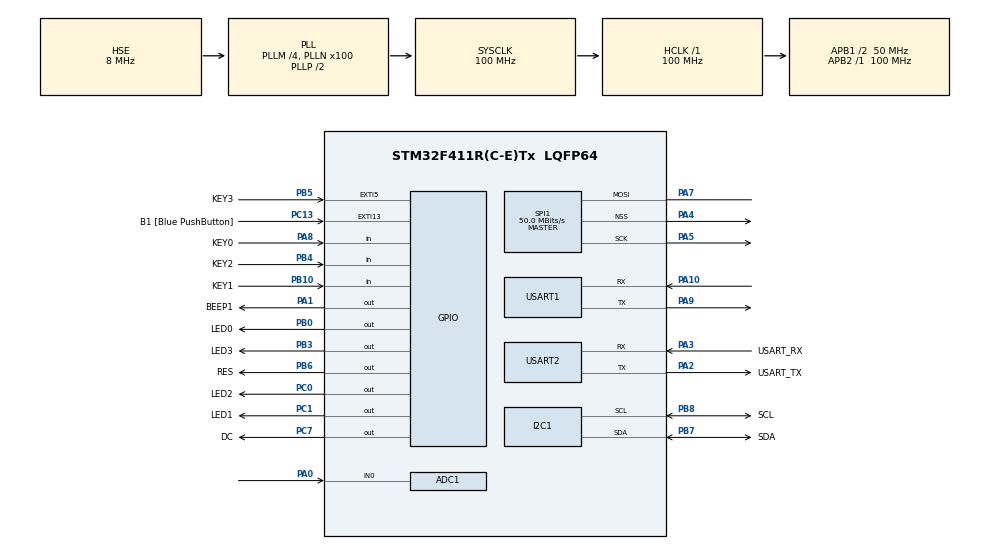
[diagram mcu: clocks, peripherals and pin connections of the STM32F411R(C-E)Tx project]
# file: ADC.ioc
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ADC1.Channel-0\#ChannelRegularConversion=ADC_CHANNEL_0
ADC1.ContinuousConvMode=ENABLE
ADC1.DMAContinuousRequests=ENABLE
ADC1.NbrOfConversion=1
ADC1.NbrOfConversionFlag=1
ADC1.Rank-0\#ChannelRegularConversion=1
ADC1.SamplingTime-0\#ChannelRegularConversion=ADC_SAMPLETIME_3CYCLES
ADC1.ScanConvMode=ENABLE
ADC1.master=1
Dma.ADC1.0.Direction=DMA_PERIPH_TO_MEMORY
Dma.ADC1.0.FIFOMode=DMA_FIFOMODE_DISABLE
Dma.ADC1.0.Instance=DMA2_Stream0
Dma.ADC1.0.MemDataAlignment=DMA_MDATAALIGN_WORD
Dma.ADC1.0.MemInc=DMA_MINC_ENABLE
Dma.ADC1.0.Mode=DMA_CIRCULAR
Dma.ADC1.0.PeriphDataAlignment=DMA_PDATAALIGN_WORD
Dma.ADC1.0.PeriphInc=DMA_PINC_DISABLE
Dma.ADC1.0.Priority=DMA_PRIORITY_LOW
Dma.Request0=ADC1
Dma.Request1=SPI1_TX
Dma.SPI1_TX.1.Direction=DMA_MEMORY_TO_PERIPH
Dma.SPI1_TX.1.FIFOMode=DMA_FIFOMODE_DISABLE
Dma.SPI1_TX.1.Instance=DMA2_Stream2
Dma.SPI1_TX.1.MemDataAlignment=DMA_MDATAALIGN_BYTE
Dma.SPI1_TX.1.MemInc=DMA_MINC_ENABLE
Dma.SPI1_TX.1.Mode=DMA_NORMAL
Dma.SPI1_TX.1.PeriphDataAlignment=DMA_PDATAALIGN_BYTE
Dma.SPI1_TX.1.PeriphInc=DMA_PINC_DISABLE
Dma.SPI1_TX.1.Priority=DMA_PRIORITY_VERY_HIGH
Mcu.Family=STM32F4
Mcu.Name=STM32F411R(C-E)Tx
Mcu.Package=LQFP64
NVIC.DMA2_Stream0_IRQn=true\:0\:0\:false\:false\:true\:false\:true\:true
NVIC.DMA2_Stream2_IRQn=true\:0\:0\:false\:false\:true\:false\:true\:true
NVIC.PriorityGroup=NVIC_PRIORITYGROUP_0
NVIC.SPI1_IRQn=true\:0\:0\:false\:false\:true\:true\:true\:true
NVIC.TIM2_IRQn=true\:0\:0\:false\:false\:true\:true\:true\:true
PA0-WKUP.Signal=ADCx_IN0
PA1.GPIO_Label=BEEP1
PA1.GPIO_PuPd=GPIO_PULLUP
PA1.Signal=GPIO_Output
PA10.Mode=Asynchronous
PA10.Signal=USART1_RX
PA13.GPIO_Label=TMS
PA13.Mode=Serial_Wire
PA13.Signal=SYS_JTMS-SWDIO
PA14.GPIO_Label=TCK
PA14.Mode=Serial_Wire
PA14.Signal=SYS_JTCK-SWCLK
PA2.GPIO_Label=USART_TX
PA2.Mode=Asynchronous
PA2.Signal=USART2_TX
PA3.GPIO_Label=USART_RX
PA3.Mode=Asynchronous
PA3.Signal=USART2_RX
PA4.Mode=NSS_Signal_Hard_Output
PA4.Signal=SPI1_NSS
PA5.Mode=Simplex_Bidirectional_Master
PA5.Signal=SPI1_SCK
PA7.Mode=Simplex_Bidirectional_Master
PA7.Signal=SPI1_MOSI
PA8.GPIO_Label=KEY0
PA8.GPIO_PuPd=GPIO_PULLUP
PA8.Signal=GPIO_Input
PA9.Mode=Asynchronous
PA9.Signal=USART1_TX
PB0.GPIO_Label=LED0
PB0.GPIO_PuPd=GPIO_PULLUP
PB0.Signal=GPIO_Output
PB10.GPIO_Label=KEY1
PB10.GPIO_PuPd=GPIO_PULLUP
PB10.Signal=GPIO_Input
PB3.GPIO_Label=LED3
PB3.GPIO_PuPd=GPIO_PULLUP
PB3.Signal=GPIO_Output
PB4.GPIO_Label=KEY2
PB4.GPIO_PuPd=GPIO_PULLUP
PB4.Signal=GPIO_Input
PB5.GPIO_Label=KEY3
PB5.GPIO_PuPd=GPIO_PULLUP
PB5.Signal=GPXTI5
PB6.GPIO_Label=RES
PB6.GPIO_Speed=GPIO_SPEED_FREQ_VERY_HIGH
PB6.Signal=GPIO_Output
PB7.GPIO_Label=SDA
PB7.Mode=I2C
PB7.Signal=I2C1_SDA
PB8.GPIO_Label=SCL
PB8.Mode=I2C
PB8.Signal=I2C1_SCL
PC0.GPIO_Label=LED2
PC0.GPIO_PuPd=GPIO_PULLUP
PC0.Signal=GPIO_Output
PC1.GPIO_Label=LED1
PC1.GPIO_PuPd=GPIO_PULLUP
PC1.Signal=GPIO_Output
PC13-ANTI_TAMP.GPIO_Label=B1 [Blue PushButton]
PC13-ANTI_TAMP.GPIO_ModeDefaultEXTI=GPIO_MODE_IT_FALLING
PC13-ANTI_TAMP.Signal=GPXTI13
PC14-OSC32_IN.Mode=LSE-External-Oscillator
PC14-OSC32_IN.Signal=RCC_OSC32_IN
PC15-OSC32_OUT.Mode=LSE-External-Oscillator
PC15-OSC32_OUT.Signal=RCC_OSC32_OUT
PC7.GPIO_Label=DC
PC7.GPIO_Speed=GPIO_SPEED_FREQ_VERY_HIGH
PC7.Signal=GPIO_Output
PH0\ -\ OSC_IN.Mode=HSE-External-Clock-Source
PH0\ -\ OSC_IN.Signal=RCC_OSC_IN
PH1\ -\ OSC_OUT.Mode=HSE-External-Clock-Source
PH1\ -\ OSC_OUT.Signal=RCC_OSC_OUT
ProjectManager.HeapSize=0x200
ProjectManager.StackSize=0x400
ProjectManager.TargetToolchain=MDK-ARM V5.32
RCC.48MHZClocksFreq_Value=50000000
RCC.AHBFreq_Value=100000000
RCC.APB1CLKDivider=RCC_HCLK_DIV2
RCC.APB1Freq_Value=50000000
RCC.APB1TimFreq_Value=100000000
RCC.APB2Freq_Value=100000000
RCC.APB2TimFreq_Value=100000000
RCC.CortexFreq_Value=100000000
RCC.FLatency-AdvancedSettings=FLASH_LATENCY_3
RCC.HCLKFreq_Value=100000000
RCC.HSE_VALUE=8000000
RCC.HSI_VALUE=16000000
RCC.PLLM=4
RCC.PLLN=100
RCC.PLLSourceVirtual=RCC_PLLSOURCE_HSE
RCC.SYSCLKFreq_VALUE=100000000
RCC.SYSCLKSource=RCC_SYSCLKSOURCE_PLLCLK
RCC.VCOOutputFreq_Value=200000000
SH.ADCx_IN0.0=ADC1_IN0,IN0
SPI1.CalculateBaudRate=50.0 MBits/s
SPI1.DataSize=SPI_DATASIZE_8BIT
SPI1.Direction=SPI_DIRECTION_1LINE
SPI1.Mode=SPI_MODE_MASTER
SPI1.VirtualNSS=VM_NSSHARD
SPI1.VirtualType=VM_MASTER
TIM2.AutoReloadPreload=TIM_AUTORELOAD_PRELOAD_ENABLE
TIM2.Period=1000-1
TIM2.Prescaler=99-1
USART1.VirtualMode=VM_ASYNC
USART2.VirtualMode=VM_ASYNC
VP_TIM2_VS_ClockSourceINT.Mode=Internal
board=NUCLEO-F411RE

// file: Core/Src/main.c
/* USER CODE BEGIN Header */
/**
  ******************************************************************************
  * @file           : main.c
  * @brief          : Main program body
  ******************************************************************************
  * @attention
  *
  * Copyright (c) 2023 STMicroelectronics.
  * All rights reserved.
  *
  * This software is licensed under terms that can be found in the LICENSE file
  * in the root directory of this software component.
  * If no LICENSE file comes with this software, it is provided AS-IS.
  *
  ******************************************************************************
  */
/* USER CODE END Header */
#include "main.h"
#include "adc.h"
#include "dma.h"
#include "i2c.h"
#include "spi.h"
#include "tim.h"
#include "usart.h"
#include "gpio.h"

/* USER CODE BEGIN Includes */
#include "ILI9341_Driver.h"
#include "stdio.h"
#include "example.h"
/* USER CODE END Includes */

/* USER CODE BEGIN PV */

/* ============================== ADC采样变量 =============================== */
#define ADC_SAMPLE_NUM 30
uint32_t ADC_Value[ADC_SAMPLE_NUM];
uint8_t i, page, chage_page;
uint32_t ad1;
char ADC_Value_Str[ADC_SAMPLE_NUM];
char immediate_data[ADC_SAMPLE_NUM];
uint32_t adc_min = 4096;
uint32_t adc_value;
uint32_t adc_max = 0;
char adc_max_string[ADC_SAMPLE_NUM];
char adc_min_string[ADC_SAMPLE_NUM];
/* ============================== ADC采样变量 =============================== */

/* USER CODE END PV */

void SystemClock_Config(void);

int main(void)
{

  /* MCU Configuration--------------------------------------------------------*/

  /* Reset of all peripherals, Initializes the Flash interface and the Systick. */
  HAL_Init();

  /* Configure the system clock */
  SystemClock_Config();

  /* Initialize all configured peripherals */
  MX_GPIO_Init();
  MX_DMA_Init();
  MX_USART2_UART_Init();
  MX_SPI1_Init();
  MX_USART1_UART_Init();
  MX_ADC1_Init();
  MX_I2C1_Init();
  MX_TIM2_Init();
  /* USER CODE BEGIN 2 */
ILI9341_Init();
ILI9341_Fill_Screen(BLACK);
HAL_TIM_Base_Start_IT(&htim2);
HAL_ADC_Start_DMA(&hadc1, (uint32_t*)&ADC_Value, ADC_SAMPLE_NUM);
if(page == 0)
{
	LCD_Display_String(10,30,"======= DC Voltmeter =======",WHITE,BLACK);
	LCD_Display_String(60,70,"Voltage:  ",WHITE,BLACK);
	LCD_Display_String(60,110,"ADCnum:   ",WHITE,BLACK);
	LCD_Display_String(10,150,"===========================",WHITE,BLACK);
}

if(page == 1)
{
	LCD_Display_String(10,30,"======= MAX-MIN VALUE =======",WHITE,BLACK);
	LCD_Display_String(60,70,"MAX_Volt:  ",WHITE,BLACK);
	LCD_Display_String(60,110,"MIN_Volt:   ",WHITE,BLACK);
	LCD_Display_String(10,150,"============================",WHITE,BLACK);
}
  /* USER CODE END 2 */

  /* Infinite loop */
  /* USER CODE BEGIN WHILE */
  while (1)
  {
	  if(page == 0 && chage_page == 1)
	  {
		  ILI9341_Fill_Screen(BLACK);
		  LCD_Display_String(10,30,"======= DC Voltmeter =======",WHITE,BLACK);
		  LCD_Display_String(60,70,"Voltage:  ",WHITE,BLACK);
		  LCD_Display_String(60,110,"ADCnum:   ",WHITE,BLACK);
		  LCD_Display_String(10,150,"===========================",WHITE,BLACK);
	  }

	  if(page == 1 && chage_page == 0)
	  {
		  ILI9341_Fill_Screen(BLACK);
		  adc_min = 4096;
		  adc_value = 0;
		  adc_max = 0;
		  LCD_Display_String(10,30,"======= MAX-MIN VALUE =======",WHITE,BLACK);
		  LCD_Display_String(60,70,"MAX_Volt:  ",WHITE,BLACK);
		  LCD_Display_String(60,110,"MIN_Volt:   ",WHITE,BLACK);
		  LCD_Display_String(10,150,"============================",WHITE,BLACK);
	  }

	  if(page == 0)
	  {
		  chage_page = 0;
		  sprintf(ADC_Value_Str," %1.2fV", adc_value*3.3f/4096);
		  LCD_Display_String(120,70,ADC_Value_Str,WHITE,BLACK);

		  sprintf(immediate_data," %04d",adc_value);
		  LCD_Display_String(120,110,immediate_data,WHITE,BLACK);
	  }

	  if(page == 1)
	  {
		  chage_page = 1;
		  sprintf(adc_max_string," %1.2fV", adc_max*3.3f/4096);
		  LCD_Display_String(140,70,adc_max_string,WHITE,BLACK);

		  sprintf(adc_min_string," %1.2fV",adc_min*3.3f/4096);
		  LCD_Display_String(140,110,adc_min_string,WHITE,BLACK);
	  }

	  // 测试最值
//	  sprintf(adc_max_string," %04d", adc_max);
//	  LCD_Display_String(140,70,adc_max_string,WHITE,BLACK);
//
//	  sprintf(adc_min_string," %04d",adc_min);
//	  LCD_Display_String(140,110,adc_min_string,WHITE,BLACK);

    /* USER CODE END WHILE */

  }
}

void SystemClock_Config(void)
{
  RCC_OscInitTypeDef RCC_OscInitStruct = {0};
  RCC_ClkInitTypeDef RCC_ClkInitStruct = {0};

  /** Configure the main internal regulator output voltage
  */
  __HAL_RCC_PWR_CLK_ENABLE();
  __HAL_PWR_VOLTAGESCALING_CONFIG(PWR_REGULATOR_VOLTAGE_SCALE1);

  /** Initializes the RCC Oscillators according to the specified parameters
  * in the RCC_OscInitTypeDef structure.
  */
  RCC_OscInitStruct.OscillatorType = RCC_OSCILLATORTYPE_HSE;
  RCC_OscInitStruct.HSEState = RCC_HSE_BYPASS;
  RCC_OscInitStruct.PLL.PLLState = RCC_PLL_ON;
  RCC_OscInitStruct.PLL.PLLSource = RCC_PLLSOURCE_HSE;
  RCC_OscInitStruct.PLL.PLLM = 4;
  RCC_OscInitStruct.PLL.PLLN = 100;
  RCC_OscInitStruct.PLL.PLLP = RCC_PLLP_DIV2;
  RCC_OscInitStruct.PLL.PLLQ = 4;
  if (HAL_RCC_OscConfig(&RCC_OscInitStruct) != HAL_OK)
  {
    Error_Handler();
  }

  /** Initializes the CPU, AHB and APB buses clocks
  */
  RCC_ClkInitStruct.ClockType = RCC_CLOCKTYPE_HCLK|RCC_CLOCKTYPE_SYSCLK
                              |RCC_CLOCKTYPE_PCLK1|RCC_CLOCKTYPE_PCLK2;
  RCC_ClkInitStruct.SYSCLKSource = RCC_SYSCLKSOURCE_PLLCLK;
  RCC_ClkInitStruct.AHBCLKDivider = RCC_SYSCLK_DIV1;
  RCC_ClkInitStruct.APB1CLKDivider = RCC_HCLK_DIV2;
  RCC_ClkInitStruct.APB2CLKDivider = RCC_HCLK_DIV1;

  if (HAL_RCC_ClockConfig(&RCC_ClkInitStruct, FLASH_LATENCY_3) != HAL_OK)
  {
    Error_Handler();
  }
}

/* USER CODE BEGIN 4 */
void HAL_TIM_PeriodElapsedCallback(TIM_HandleTypeDef *htim) {

	// 使用定时器2实现一个均值滤波
	if(htim->Instance == htim2.Instance)
	{
		for(i = 0, ad1 = 0; i < ADC_SAMPLE_NUM;)
			ad1 += ADC_Value[i++];

		adc_value = ad1 / ADC_SAMPLE_NUM;

		if(page == 1)
		{
			if(adc_value > adc_max)
				adc_max = adc_value;
			if(adc_value < adc_min && adc_value != 0)
				adc_min = adc_value;
		}
	}
}
uint8_t timer = 0;
void HAL_SYSTICK_Callback()
{
	timer++;

	if(HAL_GPIO_ReadPin(KEY0_GPIO_Port,KEY0_Pin) == 0)
	{
		if(timer > 20)
		{
			if(HAL_GPIO_ReadPin(KEY0_GPIO_Port,KEY0_Pin) == 0)
			{
				page = 0;chage_page = 1;
			}
			timer = 0;
		}
	}

	if(HAL_GPIO_ReadPin(KEY1_GPIO_Port,KEY1_Pin) == 0)
	{
		if(timer > 20)
		{
			if(HAL_GPIO_ReadPin(KEY1_GPIO_Port,KEY1_Pin) == 0)
			{
				page = 1;chage_page = 0;
			}
			timer = 0;
		}
	}
}
/* USER CODE END 4 */

void Error_Handler(void)
{
  __disable_irq();
  while (1)
  {
  }
}
